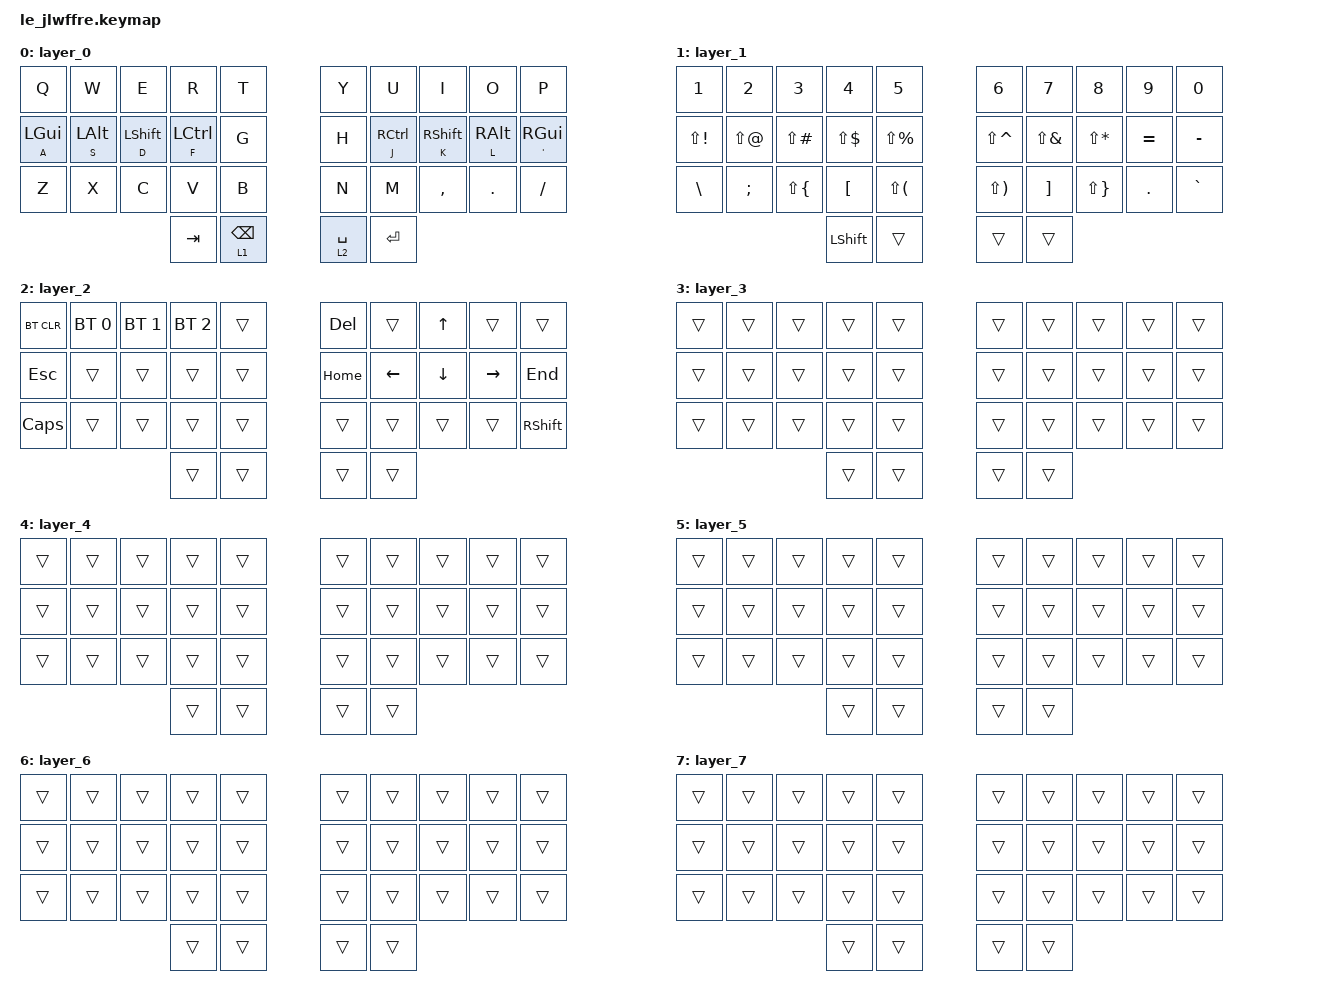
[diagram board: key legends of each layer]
#include <behaviors.dtsi>
#include <dt-bindings/zmk/bt.h>
#include <dt-bindings/zmk/keys.h>

/ {
    behaviors {
        hm: hm {
            compatible = "zmk,behavior-hold-tap";
            label = "HM";
            bindings = <&kp>, <&kp>;

            #binding-cells = <2>;
            tapping-term-ms = <240>;
            quick-tap-ms = <200>;
            flavor = "tap-preferred";
        };

        kn: kn {
            compatible = "zmk,behavior-sensor-rotate";
            label = "KN";
            #sensor-binding-cells = <0>;
            bindings = <&kp C_VOLUME_UP>, <&kp C_VOL_DN>;
        };
    };

    keymap {
        compatible = "zmk,keymap";

        layer_0 {
            bindings = <
&kp Q           &kp W           &kp E             &kp R        &kp T              &kp Y        &kp U                &kp I              &kp O            &kp P
&hm A LEFT_GUI  &hm S LEFT_ALT  &hm D LEFT_SHIFT  &hm F LCTRL  &kp G              &kp H        &hm J RIGHT_CONTROL  &hm K RIGHT_SHIFT  &hm L RIGHT_ALT  &hm SQT RIGHT_GUI
&kp Z           &kp X           &kp C             &kp V        &kp B              &kp N        &kp M                &kp COMMA          &kp DOT          &kp FSLH
                                                  &kp TAB      &lt 1 BACKSPACE    &lt 2 SPACE  &kp RET
            >;
        };

        layer_1 {
            bindings = <
&kp N1        &kp N2      &kp N3         &kp N4        &kp N5           &kp N6         &kp N7        &kp N8        &kp N9     &kp N0
&kp LS(EXCL)  &kp LS(AT)  &kp LS(POUND)  &kp LS(DLLR)  &kp LS(PRCNT)    &kp LS(CARET)  &kp LS(AMPS)  &kp LS(STAR)  &kp EQUAL  &kp MINUS
&kp BSLH      &kp SEMI    &kp LS(LBRC)   &kp LBKT      &kp LS(LPAR)     &kp LS(RPAR)   &kp RBKT      &kp LS(RBRC)  &kp DOT    &kp GRAVE
                                         &kp LSHFT     &trans           &trans         &trans
            >;
        };

        layer_2 {
            bindings = <
&bt BT_CLR  &bt BT_SEL 0  &bt BT_SEL 1  &bt BT_SEL 2  &trans    &kp DEL   &trans    &kp UP    &trans     &trans
&kp ESC     &trans        &trans        &trans        &trans    &kp HOME  &kp LEFT  &kp DOWN  &kp RIGHT  &kp END
&kp CAPS    &trans        &trans        &trans        &trans    &trans    &trans    &trans    &trans     &kp RSHFT
                                        &trans        &trans    &trans    &trans
            >;
        };

        layer_3 {
            bindings = <
&trans  &trans  &trans  &trans  &trans    &trans  &trans  &trans  &trans  &trans
&trans  &trans  &trans  &trans  &trans    &trans  &trans  &trans  &trans  &trans
&trans  &trans  &trans  &trans  &trans    &trans  &trans  &trans  &trans  &trans
                        &trans  &trans    &trans  &trans
            >;
        };

        layer_4 {
            bindings = <
&trans  &trans  &trans  &trans  &trans    &trans  &trans  &trans  &trans  &trans
&trans  &trans  &trans  &trans  &trans    &trans  &trans  &trans  &trans  &trans
&trans  &trans  &trans  &trans  &trans    &trans  &trans  &trans  &trans  &trans
                        &trans  &trans    &trans  &trans
            >;
        };

        layer_5 {
            bindings = <
&trans  &trans  &trans  &trans  &trans    &trans  &trans  &trans  &trans  &trans
&trans  &trans  &trans  &trans  &trans    &trans  &trans  &trans  &trans  &trans
&trans  &trans  &trans  &trans  &trans    &trans  &trans  &trans  &trans  &trans
                        &trans  &trans    &trans  &trans
            >;
        };

        layer_6 {
            bindings = <
&trans  &trans  &trans  &trans  &trans    &trans  &trans  &trans  &trans  &trans
&trans  &trans  &trans  &trans  &trans    &trans  &trans  &trans  &trans  &trans
&trans  &trans  &trans  &trans  &trans    &trans  &trans  &trans  &trans  &trans
                        &trans  &trans    &trans  &trans
            >;
        };

        layer_7 {
            bindings = <
&trans  &trans  &trans  &trans  &trans    &trans  &trans  &trans  &trans  &trans
&trans  &trans  &trans  &trans  &trans    &trans  &trans  &trans  &trans  &trans
&trans  &trans  &trans  &trans  &trans    &trans  &trans  &trans  &trans  &trans
                        &trans  &trans    &trans  &trans
            >;
        };
    };
};
